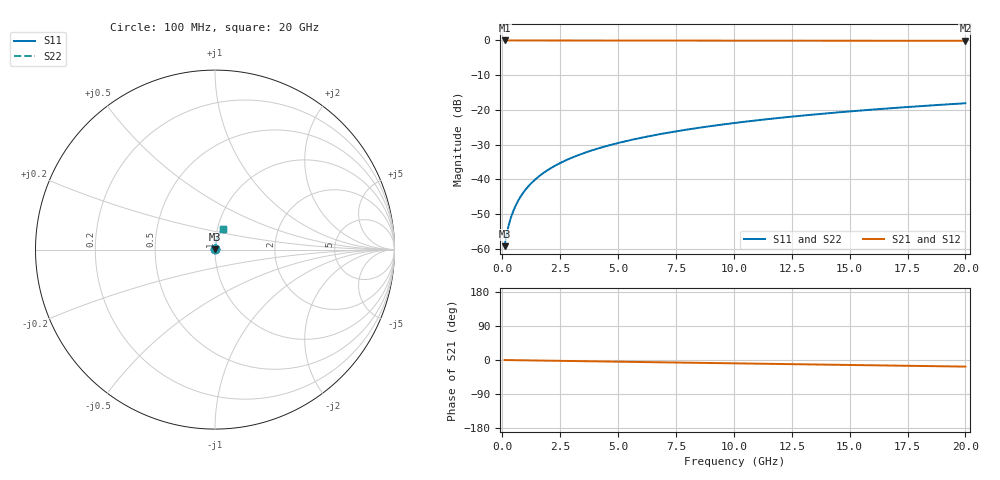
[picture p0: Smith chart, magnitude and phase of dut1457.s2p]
! Touchstone file exported from HFSS 2026.1.0
!  File:  C:/ffzhzh/LocalFiles/Ansys_Project_Files/temp_train_BSMRDL_1457_1783180811_18472.aedt
!  Generated:  12:01:25 AM Jul  5, 2026
!  Design:  BSMRDL
!  Project:  temp_train_BSMRDL_1457_1783180811_18472
! Variables:
!  h_bsmrdl = 5.83um
!  h_ox = 20um
!  h_rdl = 5um
!  h_sub = 80um
!  h_tmrdl = 5um
!  h_tsv = 80um
!  h_via = 3um
!  l_bsmrdl = 255.69um
!  l_sub = 655.69um
!  l_tmrdl = 200um
!  m_sub = 200um
!  pitch = 45.56um
!  r_tsv = 6um
!  s_tmrdl = 10um
!  w_bsmrdl = 27.07um
!  w_sub = 500um
!  w_tmrdl = 12um
!  x_tsv_center1 = 206um
!  x_tsv_center2 = 488.76um
!  x_tsv_center3 = 700.76um
!  x_tsv_center4 = 983.52um
!  x_tsv_center5 = 1195.52um
!  x_tsv_center6 = 1478.28um
# GHz S MA R 50.000000
! Terminal data exported
! Port[1] = BSM_RDL1_1_T1
! Port[2] = BSM_RDL1_1_T2
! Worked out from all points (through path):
!   200 points, 100 MHz to 20 GHz, reference 50 ohm
!   highest |S21| = -0.01 dB at 100 MHz (marker M1); lowest = -0.1 dB at 20 GHz (marker M2)
!   group delay of S21, straight-line fit = 2.41 ps
!   lowest |S11| = -59.3 dB at 100 MHz (marker M3), VSWR 1.00, Z = 50.1 + j0.079 ohm
!   |S11| at or under -10 dB: start of sweep to end of sweep
!   |S22| runs from -59.3 to -18.1 dB; largest |S21 - S12| = 7e-15
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0.1  0.001086 46.6  0.9993 -0.1  0.9993 -0.1  0.001086 46.6
! Gamma 0 0 0 0
! Port Impedance 50 0 50 0
0.2  0.001697 61.2  0.9992 -0.2  0.9992 -0.2  0.001697 61.2
0.3  0.002331 68.3  0.9991 -0.3  0.9991 -0.3  0.002331 68.3
0.4  0.002985 72.6  0.9991 -0.4  0.9991 -0.4  0.002985 72.6
0.5  0.003652 75.4  0.999 -0.5  0.999 -0.5  0.003651 75.4
0.6  0.004326 77.3  0.999 -0.5  0.999 -0.5  0.004326 77.3
0.8  0.005687 79.6  0.999 -0.7  0.999 -0.7  0.005687 79.6
1.1  0.007735 81.3  0.9989 -1.0  0.9989 -1.0  0.007735 81.3
1.3  0.009099 81.9  0.9988 -1.2  0.9988 -1.2  0.009099 81.9
1.5  0.01046 82.3  0.9987 -1.4  0.9987 -1.4  0.01046 82.3
1.8  0.01248 82.6  0.9986 -1.6  0.9986 -1.6  0.01248 82.6
2.1  0.01449 82.7  0.9985 -1.9  0.9985 -1.9  0.01449 82.7
2.7  0.01846 82.6  0.9982 -2.4  0.9982 -2.4  0.01846 82.6
3.5  0.02367 82.2  0.9978 -3.1  0.9978 -3.1  0.02367 82.3
4.2  0.02816 81.9  0.9975 -3.8  0.9975 -3.8  0.02816 81.9
5  0.03326 81.4  0.9971 -4.5  0.9971 -4.5  0.03326 81.4
6.8  0.0446 80.3  0.9962 -6.0  0.9962 -6.0  0.0446 80.3
8.3  0.05397 79.3  0.9954 -7.3  0.9954 -7.3  0.05397 79.3
10.1  0.06512 78.0  0.9944 -8.9  0.9944 -8.9  0.06512 78.0
13.4  0.08529 75.5  0.9923 -11.8  0.9923 -11.8  0.08529 75.5
16.7  0.1051 72.9  0.9899 -14.6  0.9899 -14.6  0.1051 72.9
20  0.1245 70.3  0.9873 -17.4  0.9873 -17.4  0.1245 70.3
